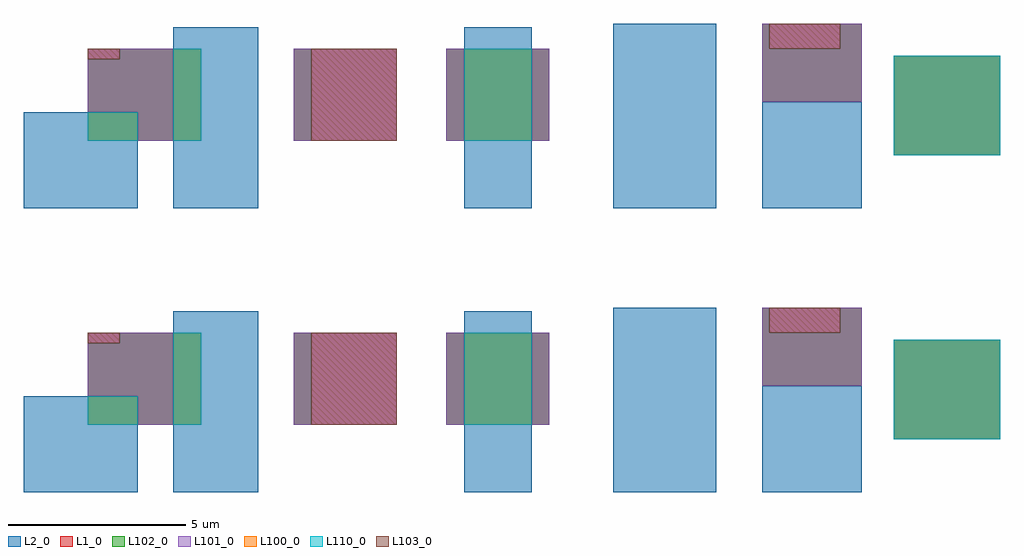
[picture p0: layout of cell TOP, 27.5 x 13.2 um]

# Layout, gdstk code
import gdstk
lib = gdstk.Library(unit=1e-6, precision=1e-09)
def R(c, l, rs):  # rectangles x0, y0, x1, y1
    for r in rs: c.add(gdstk.rectangle(r[:2], r[2:], *l))
def P(c, l, *ps):  # polygons
    for p in ps: c.add(gdstk.Polygon(p, *l))
L1_0 = (1, 0)
L2_0 = (2, 0)
L100_0 = (100, 0)
L101_0 = (101, 0)
L102_0 = (102, 0)
L103_0 = (103, 0)
L110_0 = (110, 0)

child1 = lib.new_cell('CHILD1')
R(child1, L1_0, [(22.7,0,25.7,2.8), (0,0.4,3.2,3), (5.8,0.4,8.7,3), (10.1,0.4,13,3), (19,1.5,21.8,3.7)])
R(child1, L100_0, [(22.7,0,25.7,2.8), (0,0.4,1.4,1.2), (2.4,0.4,3.2,3), (10.6,0.4,12.5,3)])
R(child1, L101_0, [(5.8,0.4,8.7,3), (10.1,0.4,10.6,3), (12.5,0.4,13,3), (19,1.5,21.8,3.7)])
P(child1, L101_0, [(1.4,0.4),(1.4,1.2),(0,1.2),(0,3),(2.4,3),(2.4,0.4)])
R(child1, L102_0, [(22.7,0,25.7,2.8), (5.8,0.4,6.3,3), (10.1,0.4,13,3)])
P(child1, L102_0, [(19,1.5),(19,3.7),(19.2,3.7),(19.2,3),(21.2,3),(21.2,3.7),(21.8,3.7),(21.8,1.5)],
  [(0,0.4),(0,2.7),(0.9,2.7),(0.9,3),(3.2,3),(3.2,0.4)])
R(child1, L103_0, [(6.3,0.4,8.7,3), (0,2.7,0.9,3), (19.2,3,21.2,3.7)])
R(child1, L110_0, [(22.7,0,25.7,2.8), (0,0.4,1.4,1.2), (2.4,0.4,3.2,3), (10.6,0.4,12.5,3)])

child2 = lib.new_cell('CHILD2')
R(child2, L2_0, [(-13.75,-2.6,-10.55,0.1), (-9.55,-2.6,-7.15,2.5), (-1.35,-2.6,0.55,2.5), (2.85,-2.6,5.75,2.6), (7.05,-2.6,9.85,0.4), (10.75,-1.1,13.75,1.7)])
R(child2, L110_0, [(10.75,-1.1,13.75,1.7), (-11.95,-0.7,-10.55,0.1), (-9.55,-0.7,-8.75,1.9), (-1.35,-0.7,0.55,1.9)])

top = lib.new_cell('TOP')
R(top, L1_0, [(24.5,1.5,27.5,4.3), (1.8,1.9,5,4.5), (7.6,1.9,10.5,4.5), (11.9,1.9,14.8,4.5), (20.8,3,23.6,5.2)])
R(top, L2_0, [(0,8,3.2,10.7), (4.2,8,6.6,13.1), (12.4,8,14.3,13.1), (16.6,8,19.5,13.2), (20.8,8,23.6,11), (24.5,9.5,27.5,12.3)])
R(top, L100_0, [(24.5,1.5,27.5,4.3), (1.8,1.9,3.2,2.7), (4.2,1.9,5,4.5), (12.4,1.9,14.3,4.5)])
R(top, L101_0, [(7.6,1.9,10.5,4.5), (11.9,1.9,12.4,4.5), (14.3,1.9,14.8,4.5), (20.8,3,23.6,5.2)])
P(top, L101_0, [(3.2,1.9),(3.2,2.7),(1.8,2.7),(1.8,4.5),(4.2,4.5),(4.2,1.9)])
R(top, L102_0, [(24.5,1.5,27.5,4.3), (7.6,1.9,8.1,4.5), (11.9,1.9,14.8,4.5)])
P(top, L102_0, [(20.8,3),(20.8,5.2),(21,5.2),(21,4.5),(23,4.5),(23,5.2),(23.6,5.2),(23.6,3)],
  [(1.8,1.9),(1.8,4.2),(2.7,4.2),(2.7,4.5),(5,4.5),(5,1.9)])
R(top, L103_0, [(8.1,1.9,10.5,4.5), (1.8,4.2,2.7,4.5), (21,4.5,23,5.2)])
top.add(gdstk.Reference(child1, (1.8,9.5)))
top.add(gdstk.Reference(child2, (13.75,2.6)))

lib.write_gds('TOP.gds')
